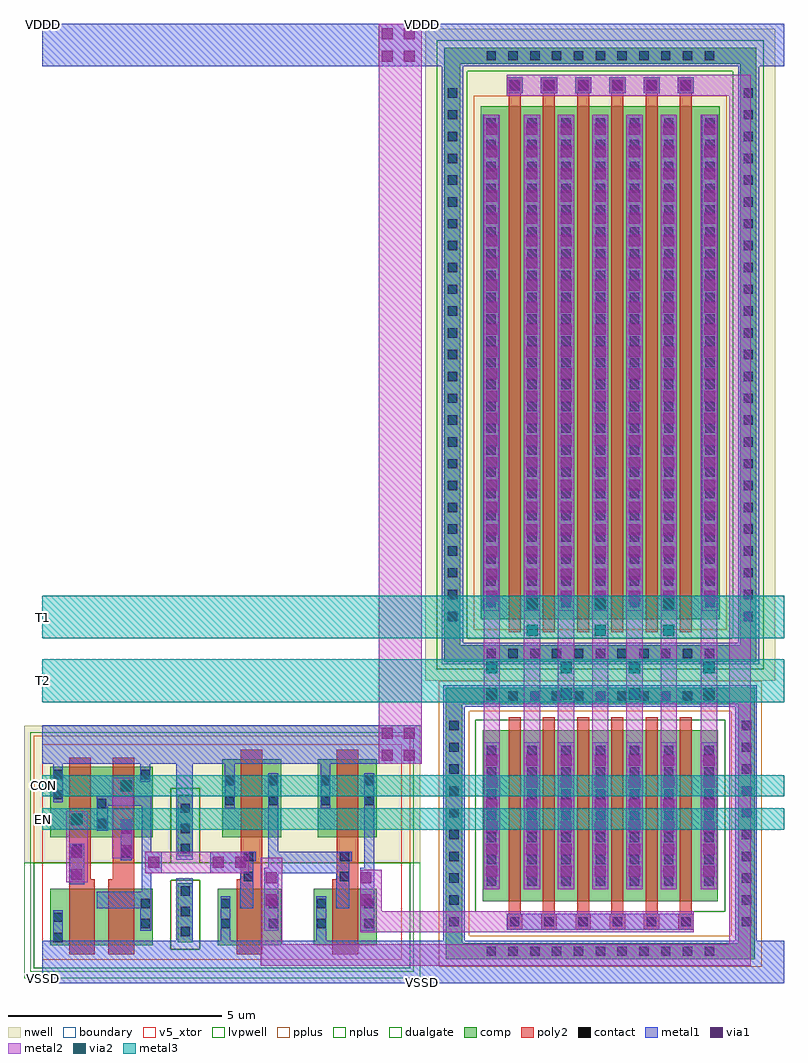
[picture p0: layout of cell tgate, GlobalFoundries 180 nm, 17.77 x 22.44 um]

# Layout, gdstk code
import gdstk
lib = gdstk.Library(unit=1e-6, precision=5e-09)
def R(c, l, rs):  # rectangles x0, y0, x1, y1
    for r in rs: c.add(gdstk.rectangle(r[:2], r[2:], *l))
def A(c, l, x, y, w, h, nx, ny, dx, dy):  # array of equal rectangles
    R(c, l, [(x+i*dx, y+j*dy, x+i*dx+w, y+j*dy+h) for i in range(nx) for j in range(ny)])
def P(c, l, *ps):  # polygons
    for p in ps: c.add(gdstk.Polygon(p, *l))
boundary = (0, 0)
nwell = (21, 0)
comp = (22, 0)
poly2 = (30, 0)
pplus = (31, 0)
nplus = (32, 0)
contact = (33, 0)
metal1 = (34, 0)
via1 = (35, 0)
metal2 = (36, 0)
via2 = (38, 0)
metal3 = (42, 0)
dualgate = (55, 0)
v5_xtor = (112, 1)
lvpwell = (204, 0)

gf180mcu_fd_sc_mcu9t5v0_ = lib.new_cell('gf180mcu_fd_sc_mcu9t5v0__filltie$1')
R(gf180mcu_fd_sc_mcu9t5v0_, boundary, [(0,0,1.12,5.04)])
R(gf180mcu_fd_sc_mcu9t5v0_, nwell, [(-0.43,2.265,1.55,5.47)])
R(gf180mcu_fd_sc_mcu9t5v0_, comp, [(0.36,0.41,0.72,1.785), (0.36,2.425,0.72,3.855)])
R(gf180mcu_fd_sc_mcu9t5v0_, pplus, [(0.2,0.25,0.88,1.865)])
P(gf180mcu_fd_sc_mcu9t5v0_, pplus, [(-0.2,2.265),(-0.2,5.24),(1.32,5.24),(1.32,2.265),(0.88,2.265),(0.88,4.015),(0.2,4.015),(0.2,2.265)])
P(gf180mcu_fd_sc_mcu9t5v0_, nplus, [(-0.2,-0.2),(-0.2,2.265),(0.2,2.265),(0.2,4.015),(0.88,4.015),(0.88,1.865),(0.2,1.865),(0.2,0.25),(0.88,0.25),(0.88,4.015),(0.88,2.265),(1.32,2.265),(1.32,-0.2)])
A(gf180mcu_fd_sc_mcu9t5v0_, contact, 0.43, 0.555, 0.22, 0.22, 1, 3, 0, 0.47)
A(gf180mcu_fd_sc_mcu9t5v0_, contact, 0.43, 2.495, 0.22, 0.22, 1, 3, 0, 0.47)
P(gf180mcu_fd_sc_mcu9t5v0_, metal1, [(0,-0.45),(0,0.45),(0.33,0.45),(0.33,1.91),(0.71,1.91),(0.71,0.45),(1.12,0.45),(1.12,-0.45)],
  [(0.33,2.34),(0.33,4.59),(0,4.59),(0,5.49),(1.12,5.49),(1.12,4.59),(0.71,4.59),(0.71,2.34)])
R(gf180mcu_fd_sc_mcu9t5v0_, dualgate, [(-0.28,-0.28,1.4,5.32)])
R(gf180mcu_fd_sc_mcu9t5v0_, v5_xtor, [(0,0,1.12,5.04)])
R(gf180mcu_fd_sc_mcu9t5v0_, lvpwell, [(-0.43,-0.43,1.55,2.265)])
gf180mcu_fd_sc_mcu9t5v0_.add(gdstk.Label('VSS', (0.56,-0.45), layer=34, texttype=10))
gf180mcu_fd_sc_mcu9t5v0_.add(gdstk.Label('VDD', (0.56,5.49), layer=34, texttype=10))
gf180mcu_fd_sc_mcu9t5v0_.add(gdstk.Label('& Vendor GLOBALFOUNDRIES', (0,2), layer=63, texttype=63))
gf180mcu_fd_sc_mcu9t5v0_.add(gdstk.Label('& Product GF018hv5v_green_sc9', (0,1.5), layer=63, texttype=63))
gf180mcu_fd_sc_mcu9t5v0_.add(gdstk.Label('& Version 2015q2v2', (0,1), layer=63, texttype=63))
gf180mcu_fd_sc_mcu9t5v0_.add(gdstk.Label('& Metric 1.00', (0,0.5), layer=63, texttype=63))

c_gf180mcu_fd_sc_mcu9t5v0_ = lib.new_cell('gf180mcu_fd_sc_mcu9t5v0__inv_1$1')
R(c_gf180mcu_fd_sc_mcu9t5v0_, boundary, [(0,0,2.24,5.04)])
R(c_gf180mcu_fd_sc_mcu9t5v0_, nwell, [(-0.43,2.265,2.67,5.47)])
R(c_gf180mcu_fd_sc_mcu9t5v0_, comp, [(0.18,0.345,1.66,1.665), (0.28,2.865,1.66,4.695)])
P(c_gf180mcu_fd_sc_mcu9t5v0_, poly2, [(0.62,0.125),(0.62,1.885),(0.72,1.885),(0.72,4.915),(1.22,4.915),(1.22,0.125)])
R(c_gf180mcu_fd_sc_mcu9t5v0_, pplus, [(-0.2,2.265,2.44,5.24)])
R(c_gf180mcu_fd_sc_mcu9t5v0_, nplus, [(-0.2,-0.2,2.44,2.265)])
R(c_gf180mcu_fd_sc_mcu9t5v0_, contact, [(0.25,0.74,0.47,0.96), (1.37,0.74,1.59,0.96), (0.25,1.21,0.47,1.43), (1.37,1.21,1.59,1.43), (0.79,1.835,1.01,2.055), (0.79,2.305,1.01,2.525), (0.35,3.61,0.57,3.83), (1.37,3.61,1.59,3.83), (0.35,4.08,0.57,4.3), (1.37,4.08,1.59,4.3)])
P(c_gf180mcu_fd_sc_mcu9t5v0_, metal1, [(0.71,1.21),(0.71,2.53),(1.07,2.53),(1.07,2.3),(1.015,2.3),(1.015,1.21)],
  [(1.27,0.68),(1.27,2.15),(1.365,2.15),(1.365,4.36),(1.595,4.36),(1.595,0.68)],
  [(0,-0.45),(0,0.45),(0.245,0.45),(0.245,1.49),(0.475,1.49),(0.475,0.45),(2.24,0.45),(2.24,-0.45)],
  [(0.345,3.55),(0.345,4.59),(0,4.59),(0,5.49),(2.24,5.49),(2.24,4.59),(0.575,4.59),(0.575,3.55)])
R(c_gf180mcu_fd_sc_mcu9t5v0_, dualgate, [(-0.28,-0.28,2.52,5.32)])
R(c_gf180mcu_fd_sc_mcu9t5v0_, v5_xtor, [(0,0,2.24,5.04)])
R(c_gf180mcu_fd_sc_mcu9t5v0_, lvpwell, [(-0.43,-0.43,2.67,2.265)])
c_gf180mcu_fd_sc_mcu9t5v0_.add(gdstk.Label('I', (0.84,1.96), layer=34, texttype=10))
c_gf180mcu_fd_sc_mcu9t5v0_.add(gdstk.Label('VDD', (1.12,5.49), layer=34, texttype=10))
c_gf180mcu_fd_sc_mcu9t5v0_.add(gdstk.Label('VSS', (1.12,-0.45), layer=34, texttype=10))
c_gf180mcu_fd_sc_mcu9t5v0_.add(gdstk.Label('ZN', (1.4,1.96), layer=34, texttype=10))
c_gf180mcu_fd_sc_mcu9t5v0_.add(gdstk.Label('& Vendor GLOBALFOUNDRIES', (0,2), layer=63, texttype=63))
c_gf180mcu_fd_sc_mcu9t5v0_.add(gdstk.Label('& Product GF018hv5v_green_sc9', (0,1.5), layer=63, texttype=63))
c_gf180mcu_fd_sc_mcu9t5v0_.add(gdstk.Label('& Version 2015q2v2', (0,1), layer=63, texttype=63))
c_gf180mcu_fd_sc_mcu9t5v0_.add(gdstk.Label('& Metric 1.00', (0,0.5), layer=63, texttype=63))
c_gf180mcu_fd_sc_mcu9t5v0_.add(gdstk.Label('VNW', (0.345,3.92), layer=21, texttype=10))
c_gf180mcu_fd_sc_mcu9t5v0_.add(gdstk.Label('VPW', (0.34,-0.085), layer=204, texttype=10))

c_gf180mcu_fd_sc_mcu9t5v0__ = lib.new_cell('gf180mcu_fd_sc_mcu9t5v0__nand2_1$1')
R(c_gf180mcu_fd_sc_mcu9t5v0__, boundary, [(0,0,2.8,5.04)])
R(c_gf180mcu_fd_sc_mcu9t5v0__, nwell, [(-0.43,2.265,3.23,5.47)])
R(c_gf180mcu_fd_sc_mcu9t5v0__, comp, [(0.185,0.345,2.585,1.665), (0.185,2.865,2.585,4.51)])
P(c_gf180mcu_fd_sc_mcu9t5v0__, poly2, [(0.625,0.125),(0.625,4.73),(1.125,4.73),(1.125,1.885),(1.225,1.885),(1.225,0.125)],
  [(1.545,0.125),(1.545,1.885),(1.645,1.885),(1.645,4.73),(2.145,4.73),(2.145,0.125)])
R(c_gf180mcu_fd_sc_mcu9t5v0__, pplus, [(-0.2,2.265,3,5.24)])
R(c_gf180mcu_fd_sc_mcu9t5v0__, nplus, [(-0.2,-0.2,3,2.265)])
R(c_gf180mcu_fd_sc_mcu9t5v0__, contact, [(0.255,0.415,0.475,0.635), (2.295,0.74,2.515,0.96), (0.255,0.885,0.475,1.105), (2.295,1.21,2.515,1.43), (1.835,2.39,2.055,2.61), (0.695,2.475,0.915,2.695), (1.275,3.08,1.495,3.3), (1.275,3.55,1.495,3.77), (0.255,3.75,0.475,3.97), (0.255,4.22,0.475,4.44), (2.295,4.22,2.515,4.44)])
R(c_gf180mcu_fd_sc_mcu9t5v0__, metal1, [(0.635,1.77,0.975,2.71), (1.83,2.33,2.09,3.27)])
P(c_gf180mcu_fd_sc_mcu9t5v0__, metal1, [(2.29,0.68),(2.29,1.21),(1.27,1.21),(1.27,1.59),(2.32,1.59),(2.32,3.6),(1.53,3.6),(1.53,3.02),(1.27,3.02),(1.27,3.83),(2.55,3.83),(2.55,0.68)],
  [(0,-0.45),(0,0.45),(0.25,0.45),(0.25,1.165),(0.48,1.165),(0.48,0.45),(2.8,0.45),(2.8,-0.45)],
  [(0.25,3.69),(0.25,4.59),(0,4.59),(0,5.49),(2.8,5.49),(2.8,4.59),(2.52,4.59),(2.52,4.16),(2.29,4.16),(2.29,4.59),(0.48,4.59),(0.48,3.69)])
R(c_gf180mcu_fd_sc_mcu9t5v0__, dualgate, [(-0.28,-0.28,3.08,5.32)])
R(c_gf180mcu_fd_sc_mcu9t5v0__, v5_xtor, [(0,0,2.8,5.04)])
R(c_gf180mcu_fd_sc_mcu9t5v0__, lvpwell, [(-0.43,-0.43,3.23,2.265)])
c_gf180mcu_fd_sc_mcu9t5v0__.add(gdstk.Label('A1', (1.96,2.52), layer=34, texttype=10))
c_gf180mcu_fd_sc_mcu9t5v0__.add(gdstk.Label('A2', (0.84,1.96), layer=34, texttype=10))
c_gf180mcu_fd_sc_mcu9t5v0__.add(gdstk.Label('VDD', (1.4,5.49), layer=34, texttype=10))
c_gf180mcu_fd_sc_mcu9t5v0__.add(gdstk.Label('VSS', (1.4,-0.45), layer=34, texttype=10))
c_gf180mcu_fd_sc_mcu9t5v0__.add(gdstk.Label('ZN', (1.96,1.4), layer=34, texttype=10))
c_gf180mcu_fd_sc_mcu9t5v0__.add(gdstk.Label('& Vendor GLOBALFOUNDRIES', (0,2), layer=63, texttype=63))
c_gf180mcu_fd_sc_mcu9t5v0__.add(gdstk.Label('& Product GF018hv5v_green_sc9', (0,1.5), layer=63, texttype=63))
c_gf180mcu_fd_sc_mcu9t5v0__.add(gdstk.Label('& Version 2015q2v2', (0,1), layer=63, texttype=63))
c_gf180mcu_fd_sc_mcu9t5v0__.add(gdstk.Label('& Metric 1.00', (0,0.5), layer=63, texttype=63))
c_gf180mcu_fd_sc_mcu9t5v0__.add(gdstk.Label('VNW', (0.345,3.92), layer=21, texttype=10))
c_gf180mcu_fd_sc_mcu9t5v0__.add(gdstk.Label('VPW', (0.34,-0.085), layer=204, texttype=10))

nfet_1 = lib.new_cell('nfet$1')
R(nfet_1, comp, [(-0.42,0,0,4), (0,0,4.66,4), (4.66,0,5.08,4)])
P(nfet_1, comp, [(-1.28,-1.36),(-1.28,4.61),(-0.9,4.61),(-0.9,-0.98),(5.56,-0.98),(5.56,4.61),(-1.28,4.61),(-1.28,4.99),(5.94,4.99),(5.94,-1.36)])
A(nfet_1, poly2, 0.15, -0.66, 0.36, 0.36, 6, 1, 0.8, 0)
A(nfet_1, poly2, 0.19, -0.3, 0.28, 4.6, 6, 1, 0.8, 0)
P(nfet_1, pplus, [(-1.45,-1.53),(-1.45,4.44),(-0.73,4.44),(-0.73,-0.81),(5.39,-0.81),(5.39,4.44),(-1.45,4.44),(-1.45,5.16),(6.11,5.16),(6.11,-1.53)])
R(nfet_1, nplus, [(-0.59,-0.24,5.25,4.24)])
A(nfet_1, contact, -0.33, -1.28, 0.22, 0.22, 11, 2, 0.51, 5.97)
A(nfet_1, contact, -1.2, -0.59, 0.22, 0.22, 1, 10, 0, 0.51)
A(nfet_1, contact, 0.22, -0.59, 0.22, 0.22, 6, 1, 0.8, 0)
A(nfet_1, contact, 5.64, -0.59, 0.22, 0.22, 1, 10, 0, 0.51)
A(nfet_1, contact, -0.32, 0.36, 0.22, 0.22, 1, 7, 0, 0.51)
A(nfet_1, contact, 0.62, 0.36, 0.22, 0.22, 5, 7, 0.8, 0.51)
A(nfet_1, contact, 4.76, 0.36, 0.22, 0.22, 1, 7, 0, 0.51)
A(nfet_1, metal1, 0.14, -0.67, 0.38, 0.38, 6, 1, 0.8, 0)
A(nfet_1, metal1, 0.54, 0.28, 0.38, 3.44, 5, 1, 0.8, 0)
R(nfet_1, metal1, [(-0.4,0.28,-0.02,3.72), (4.68,0.28,5.06,3.72)])

pfet_1 = lib.new_cell('pfet$1')
R(pfet_1, nwell, [(-1.76,-1.43,6.42,13.81)])
R(pfet_1, comp, [(-0.46,0,0,12), (0,0,4.66,12), (4.66,0,5.12,12)])
P(pfet_1, comp, [(-1.32,-0.99),(-1.32,12.99),(-0.94,12.99),(-0.94,-0.61),(5.6,-0.61),(5.6,12.99),(-1.32,12.99),(-1.32,13.37),(5.98,13.37),(5.98,-0.99)])
A(pfet_1, poly2, 0.19, -0.3, 0.28, 12.6, 6, 1, 0.8, 0)
A(pfet_1, poly2, 0.14, 12.3, 0.38, 0.38, 6, 1, 0.8, 0)
R(pfet_1, pplus, [(-0.63,-0.24,5.29,12.24)])
A(pfet_1, contact, -0.33, -0.91, 0.22, 0.22, 11, 2, 0.51, 13.98)
A(pfet_1, contact, -1.24, -0.04, 0.22, 0.22, 1, 25, 0, 0.51)
A(pfet_1, contact, 5.68, -0.04, 0.22, 0.22, 1, 25, 0, 0.51)
A(pfet_1, contact, -0.34, 0.28, 0.22, 0.22, 1, 23, 0, 0.51)
A(pfet_1, contact, 0.62, 0.28, 0.22, 0.22, 5, 23, 0.8, 0.51)
A(pfet_1, contact, 4.78, 0.28, 0.22, 0.22, 1, 23, 0, 0.51)
A(pfet_1, contact, 0.22, 12.38, 0.22, 0.22, 6, 1, 0.8, 0)
A(pfet_1, metal1, 0.54, 0.2, 0.38, 11.6, 5, 1, 0.8, 0)
A(pfet_1, metal1, 0.14, 12.3, 0.38, 0.38, 6, 1, 0.8, 0)
R(pfet_1, metal1, [(-0.42,0.2,-0.04,11.8), (4.7,0.2,5.08,11.8)])

tgate = lib.new_cell('tgate')
A(tgate, via1, 4.52, -4.1, 0.26, 0.26, 1, 6, 0, 0.52)
A(tgate, via1, 5.46, -4.1, 0.26, 0.26, 5, 6, 0.8, 0.52)
A(tgate, via1, 9.6, -4.1, 0.26, 0.26, 1, 6, 0, 0.52)
A(tgate, via1, 4.52, 2.33, 0.26, 0.26, 1, 22, 0, 0.52)
A(tgate, via1, 5.46, 2.33, 0.26, 0.26, 5, 22, 0.8, 0.52)
A(tgate, via1, 9.62, 2.33, 0.26, 0.26, 1, 22, 0, 0.52)
A(tgate, via1, 5.06, 14.28, 0.26, 0.26, 6, 1, 0.8, 0)
R(tgate, via1, [(-0.63,-4.77,-0.37,-4.51), (1.575,-4.77,1.835,-4.51), (-0.63,-4.25,-0.37,-3.99), (1.575,-4.25,1.835,-3.99), (-5.18,-4.17,-4.92,-3.91), (-3.385,-3.89,-3.125,-3.63), (-1.87,-3.89,-1.61,-3.63), (-1.35,-3.89,-1.09,-3.63), (-5.18,-3.65,-4.92,-3.39), (-4.025,-3.61,-3.765,-3.35), (-4.025,-3.09,-3.765,-2.83), (2.075,-1.39,2.335,-1.13), (2.595,-1.39,2.855,-1.13), (2.075,-0.87,2.335,-0.61), (2.595,-0.87,2.855,-0.61), (2.075,14.96,2.335,15.22), (2.595,14.96,2.855,15.22), (2.075,15.48,2.335,15.74), (2.595,15.48,2.855,15.74)])
R(tgate, via2, [(-5.18,-2.88,-4.92,-2.62), (-4.02,-2.1,-3.76,-1.84), (4.52,0.045,4.78,0.305), (6.26,0.045,6.52,0.305), (7.86,0.045,8.12,0.305), (9.6,0.045,9.86,0.305), (4.52,0.665,4.78,0.925), (6.26,0.665,6.52,0.925), (7.86,0.665,8.12,0.925), (9.6,0.665,9.86,0.925), (5.465,1.535,5.725,1.795), (7.06,1.535,7.32,1.795), (8.66,1.535,8.92,1.795), (5.465,2.155,5.725,2.415), (7.06,2.155,7.32,2.415), (8.66,2.155,8.92,2.415)])
tgate.add(gdstk.FlexPath([(3.36,15.1),(10.65,15.1),(10.65,1.12),(3.72,1.12),(3.72,14.74)], 0.72, ends="flush", simple_path=True, layer=32, datatype=0))  # nplus
tgate.add(gdstk.FlexPath([(3.015,-1),(-5.855,-1)], 0.9, ends="flush", simple_path=True, layer=34, datatype=0))  # metal1
tgate.add(gdstk.FlexPath([(3.015,-6.09),(-5.855,-6.09)], 1, ends="flush", simple_path=True, layer=34, datatype=0))  # metal1
tgate.add(gdstk.FlexPath([(-3.305,-3.76),(-3.065,-3.76)], 0.5, ends="flush", simple_path=True, layer=34, datatype=0))  # metal1
tgate.add(gdstk.FlexPath([(-0.34,-3.76),(1.015,-3.76)], 0.5, ends="flush", simple_path=True, layer=34, datatype=0))  # metal1
tgate.add(gdstk.FlexPath([(-1.93,-3.76),(-1.225,-3.76)], 0.5, ends="flush", simple_path=True, layer=34, datatype=0))  # metal1
tgate.add(gdstk.FlexPath([(11.485,15.35),(-5.855,15.35)], 1, ends="flush", simple_path=True, layer=34, datatype=0))  # metal1
tgate.add(gdstk.FlexPath([(11.485,-6.09),(3.015,-6.09)], 1, ends="flush", simple_path=True, layer=34, datatype=0))  # metal1
tgate.add(gdstk.FlexPath([(5,-5.15),(9.38,-5.15)], 0.38, ends="flush", simple_path=True, layer=34, datatype=0))  # metal1
tgate.add(gdstk.FlexPath([(3.48,15.1),(10.66,15.1),(10.66,1.12),(3.73,1.12),(3.73,14.85)], 0.5, ends="flush", simple_path=True, layer=34, datatype=0))  # metal1
tgate.add(gdstk.FlexPath([(3.52,0.13),(10.6,0.13),(10.6,-5.84),(3.77,-5.84),(3.77,-0.12)], 0.5, ends="flush", simple_path=True, layer=34, datatype=0))  # metal1
tgate.add(gdstk.FlexPath([(-5.05,-4.23),(-5.05,-2.56)], 0.5, ends="flush", simple_path=True, layer=36, datatype=0))  # metal2
tgate.add(gdstk.FlexPath([(-3.975,-3.67),(-3.975,-1.78)], 0.5, ends="flush", simple_path=True, layer=36, datatype=0))  # metal2
tgate.add(gdstk.FlexPath([(-1.03,-3.76),(-3.445,-3.76)], 0.5, ends="flush", simple_path=True, layer=36, datatype=0))  # metal2
tgate.add(gdstk.FlexPath([(-0.5,-5.68),(-0.5,-3.65)], 0.5, ends="flush", simple_path=True, layer=36, datatype=0))  # metal2
tgate.add(gdstk.FlexPath([(1.825,-4.9),(1.825,-3.93)], 0.5, ends="flush", simple_path=True, layer=36, datatype=0))  # metal2
tgate.add(gdstk.FlexPath([(9.38,-5.15),(1.575,-5.15)], 0.5, ends="flush", simple_path=True, layer=36, datatype=0))  # metal2
tgate.add(gdstk.FlexPath([(10.705,-5.93),(-0.75,-5.93)], 0.5, ends="flush", simple_path=True, layer=36, datatype=0))  # metal2
tgate.add(gdstk.FlexPath([(10.455,-5.68),(10.455,14.16)], 0.5, ends="flush", simple_path=True, layer=36, datatype=0))  # metal2
tgate.add(gdstk.FlexPath([(10.705,14.41),(5,14.41)], 0.5, ends="flush", simple_path=True, layer=36, datatype=0))  # metal2
tgate.add(gdstk.FlexPath([(2.515,-1.45),(2.515,15.85)], 1, ends="flush", simple_path=True, layer=36, datatype=0))  # metal2
tgate.add(gdstk.FlexPath([(9.73,-4.39),(9.73,13.72)], 0.38, ends="flush", simple_path=True, layer=36, datatype=0))  # metal2
tgate.add(gdstk.FlexPath([(8.79,-4.39),(8.79,13.72)], 0.38, ends="flush", simple_path=True, layer=36, datatype=0))  # metal2
tgate.add(gdstk.FlexPath([(7.99,-4.39),(7.99,13.72)], 0.38, ends="flush", simple_path=True, layer=36, datatype=0))  # metal2
tgate.add(gdstk.FlexPath([(7.19,-4.39),(7.19,13.72)], 0.38, ends="flush", simple_path=True, layer=36, datatype=0))  # metal2
tgate.add(gdstk.FlexPath([(6.39,-4.39),(6.39,13.72)], 0.38, ends="flush", simple_path=True, layer=36, datatype=0))  # metal2
tgate.add(gdstk.FlexPath([(5.59,-4.39),(5.59,13.72)], 0.38, ends="flush", simple_path=True, layer=36, datatype=0))  # metal2
tgate.add(gdstk.FlexPath([(4.65,-4.39),(4.65,13.72)], 0.38, ends="flush", simple_path=True, layer=36, datatype=0))  # metal2
tgate.add(gdstk.FlexPath([(11.485,0.485),(-5.855,0.485)], 1, ends="flush", simple_path=True, layer=42, datatype=0))  # metal3
tgate.add(gdstk.FlexPath([(11.485,1.975),(-5.855,1.975)], 1, ends="flush", simple_path=True, layer=42, datatype=0))  # metal3
tgate.add(gdstk.FlexPath([(11.485,-1.97),(-5.855,-1.97)], 0.5, ends="flush", simple_path=True, layer=42, datatype=0))  # metal3
tgate.add(gdstk.FlexPath([(11.485,-2.75),(-5.855,-2.75)], 0.5, ends="flush", simple_path=True, layer=42, datatype=0))  # metal3
tgate.add(gdstk.Reference(gf180mcu_fd_sc_mcu9t5v0_, (-3.055,-6.04)))
tgate.add(gdstk.Reference(c_gf180mcu_fd_sc_mcu9t5v0_, (0.305,-6.04)))
tgate.add(gdstk.Reference(c_gf180mcu_fd_sc_mcu9t5v0_, (-1.935,-6.04)))
tgate.add(gdstk.Reference(c_gf180mcu_fd_sc_mcu9t5v0__, (-5.855,-6.04)))
tgate.add(gdstk.Reference(nfet_1, (4.86,-4.67)))
tgate.add(gdstk.Reference(pfet_1, (4.86,1.92)))
tgate.add(gdstk.Label('VSSD', (-5.84,-6.475), layer=34, texttype=10))
tgate.add(gdstk.Label('VDDD', (-5.84,15.835), layer=34, texttype=10))
tgate.add(gdstk.Label('VSSD', (3.03,-6.575), layer=34, texttype=10))
tgate.add(gdstk.Label('VDDD', (3.04,15.835), layer=34, texttype=10))
tgate.add(gdstk.Label('CON', (-5.84,-1.97), layer=42, texttype=10))
tgate.add(gdstk.Label('EN', (-5.84,-2.75), layer=42, texttype=10))
tgate.add(gdstk.Label('T1', (-5.84,1.975), layer=42, texttype=10))
tgate.add(gdstk.Label('T2', (-5.84,0.485), layer=42, texttype=10))

lib.write_gds('tgate.gds')
